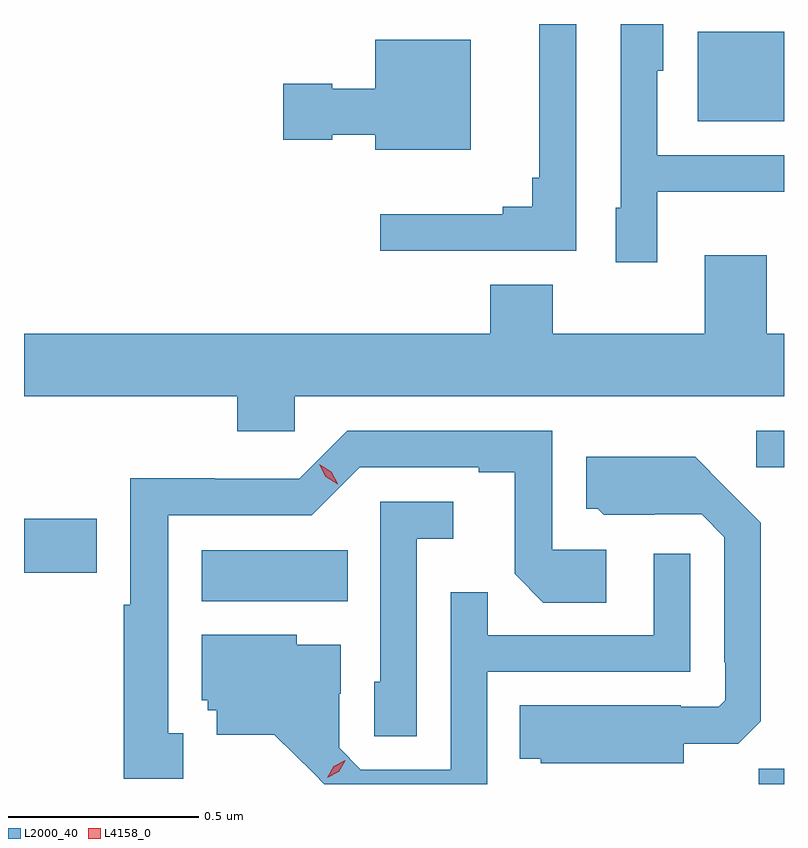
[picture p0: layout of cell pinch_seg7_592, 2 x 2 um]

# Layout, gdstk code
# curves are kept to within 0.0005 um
import gdstk
lib = gdstk.Library(unit=1e-6, precision=1e-09)
def R(c, l, rs):  # rectangles x0, y0, x1, y1
    for r in rs: c.add(gdstk.rectangle(r[:2], r[2:], *l))
def P(c, l, *ps):  # polygons
    for p in ps: c.add(gdstk.Polygon(p, *l))
L2000_40 = (2000, 40)
L4158_0 = (4158, 0)

pinch_seg7_592 = lib.new_cell('pinch_seg7_592')
R(pinch_seg7_592, L2000_40, [(156.82,1042.219,156.886,1042.259), (155.354,1042.7,155.738,1042.834), (154.886,1042.775,155.077,1042.917), (156.813,1043.052,156.886,1043.148), (156.659,1043.963,156.886,1044.199)])
P(pinch_seg7_592, L2000_40, [(156.552,1043.777),(156.869,1043.777),(156.869,1043.778),(156.886,1043.778),(156.886,1043.874),(156.552,1043.874),(156.552,1044.096),(156.568,1044.096),(156.568,1044.219),(156.456,1044.219),(156.456,1043.736),(156.443,1043.736),(156.443,1043.592),(156.552,1043.592)],
  [(156.339,1044.219),(156.242,1044.219),(156.242,1043.815),(156.223,1043.815),(156.223,1043.738),(156.146,1043.738),(156.146,1043.719),(155.823,1043.719),(155.823,1043.622),(156.339,1043.622)],
  [(156.061,1044.178),(155.81,1044.178),(155.81,1044.049),(155.697,1044.049),(155.697,1044.062),(155.568,1044.062),(155.568,1043.915),(155.697,1043.915),(155.697,1043.927),(155.81,1043.927),(155.81,1043.888),(156.061,1043.888)],
  [(155.598,1043.24),(156.886,1043.24),(156.886,1043.404),(156.841,1043.404),(156.841,1043.611),(156.677,1043.611),(156.677,1043.404),(156.277,1043.404),(156.277,1043.533),(156.113,1043.533),(156.113,1043.404),(154.886,1043.404),(154.886,1043.24),(155.447,1043.24),(155.447,1043.147),(155.598,1043.147)],
  [(155.305,1042.353),(155.266,1042.353),(155.266,1042.926),(155.643,1042.926),(155.769,1043.052),(156.083,1043.052),(156.083,1043.04),(156.177,1043.04),(156.177,1042.772),(156.253,1042.696),(156.418,1042.696),(156.418,1042.836),(156.276,1042.836),(156.276,1043.148),(155.736,1043.148),(155.61,1043.022),(155.388,1043.022),(155.388,1043.024),(155.165,1043.024),(155.165,1042.691),(155.148,1042.691),(155.148,1042.233),(155.305,1042.233)],
  [(156.622,1042.325),(156.766,1042.325),(156.825,1042.384),(156.825,1042.906),(156.653,1043.08),(156.365,1043.08),(156.365,1042.944),(156.396,1042.944),(156.412,1042.928),(156.546,1042.928),(156.546,1042.929),(156.669,1042.929),(156.729,1042.869),(156.729,1042.54),(156.732,1042.54),(156.732,1042.44),(156.714,1042.422),(156.614,1042.422),(156.614,1042.426),(156.19,1042.426),(156.19,1042.286),(156.246,1042.286),(156.246,1042.274),(156.622,1042.274)],
  [(155.919,1042.865),(156.016,1042.865),(156.016,1042.962),(155.823,1042.962),(155.823,1042.488),(155.808,1042.488),(155.808,1042.345),(155.919,1042.345)],
  [(156.105,1042.515),(156.639,1042.515),(156.639,1042.825),(156.543,1042.825),(156.543,1042.611),(156.107,1042.611),(156.107,1042.724),(156.009,1042.724),(156.009,1042.257),(155.772,1042.257),(155.715,1042.314),(155.715,1042.456),(155.719,1042.456),(155.719,1042.585),(155.604,1042.585),(155.604,1042.612),(155.354,1042.612),(155.354,1042.44),(155.37,1042.44),(155.37,1042.413),(155.393,1042.413),(155.393,1042.349),(155.545,1042.349),(155.676,1042.219),(156.105,1042.219)])
P(pinch_seg7_592, L4158_0, [(155.684,1042.236),(155.684,1042.236),(155.701,1042.266),(155.731,1042.281),(155.731,1042.281),(155.731,1042.28),(155.714,1042.251),(155.684,1042.236)],
  [(155.711,1043.008),(155.68,1043.028),(155.663,1043.06),(155.663,1043.061),(155.663,1043.061),(155.695,1043.041),(155.712,1043.009),(155.712,1043.008)])

lib.write_gds('pinch_seg7_592.gds')
